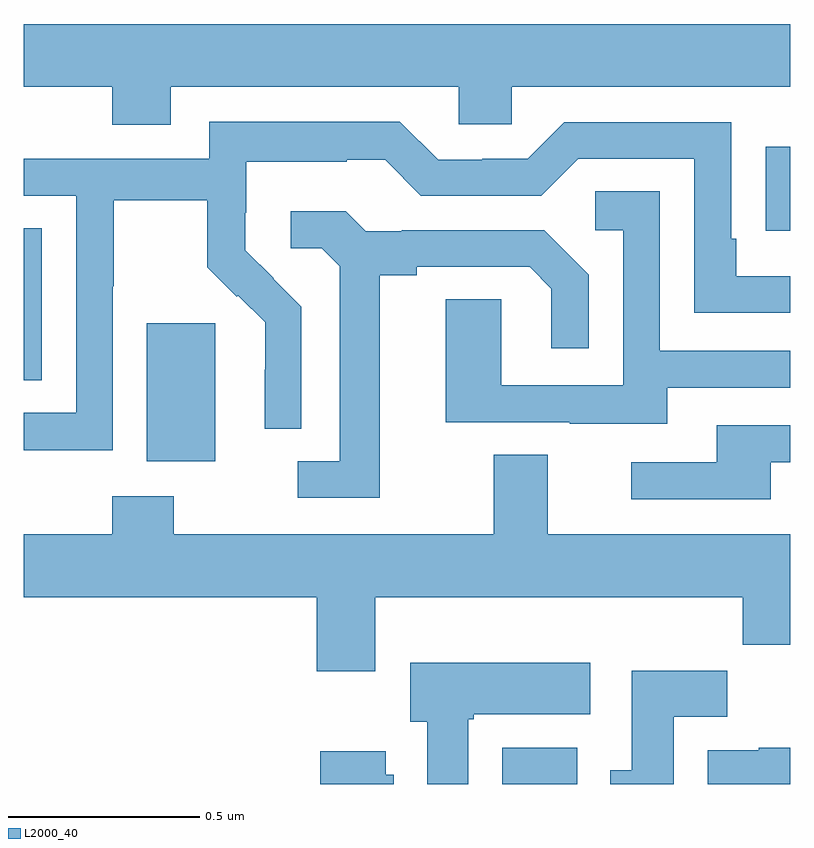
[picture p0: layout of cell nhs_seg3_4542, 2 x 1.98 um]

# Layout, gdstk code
import gdstk
lib = gdstk.Library(unit=1e-6, precision=1e-09)
def R(c, l, rs):  # rectangles x0, y0, x1, y1
    for r in rs: c.add(gdstk.rectangle(r[:2], r[2:], *l))
def P(c, l, *ps):  # polygons
    for p in ps: c.add(gdstk.Polygon(p, *l))
L2000_40 = (2000, 40)

nhs_seg3_4542 = lib.new_cell('nhs_seg3_4542')
R(nhs_seg3_4542, L2000_40, [(168.248,728.4,168.445,728.494), (167.321,729.242,167.5,729.603), (167,729.454,167.047,729.851), (168.937,729.844,169,730.063)])
P(nhs_seg3_4542, L2000_40, [(167.383,730.22),(168.135,730.22),(168.135,730.122),(168.273,730.122),(168.273,730.22),(169,730.22),(169,730.384),(167,730.384),(167,730.22),(167.231,730.22),(167.231,730.121),(167.383,730.121)],
  [(167.232,729.7),(167.235,729.7),(167.235,729.924),(167.479,729.924),(167.479,729.749),(167.556,729.672),(167.559,729.675),(167.63,729.605),(167.63,729.482),(167.628,729.482),(167.628,729.328),(167.724,729.328),(167.724,729.646),(167.651,729.719),(167.652,729.72),(167.578,729.794),(167.578,729.891),(167.58,729.891),(167.58,730.025),(167.843,730.025),(167.843,730.029),(167.943,730.029),(168.036,729.936),(168.351,729.936),(168.447,730.032),(168.75,730.032),(168.75,729.63),(169,729.63),(169,729.726),(168.859,729.726),(168.859,729.823),(168.846,729.823),(168.846,730.128),(168.411,730.128),(168.315,730.032),(168.197,730.032),(168.197,730.029),(168.081,730.029),(167.981,730.129),(167.484,730.129),(167.484,730.032),(167,730.032),(167,729.936),(167.136,729.936),(167.136,729.369),(167,729.369),(167,729.271),(167.232,729.271)],
  [(168.679,729.435),(169,729.435),(169,729.531),(168.66,729.531),(168.66,729.947),(168.492,729.947),(168.492,729.846),(168.564,729.846),(168.564,729.441),(168.246,729.441),(168.246,729.665),(168.101,729.665),(168.101,729.345),(168.425,729.345),(168.425,729.341),(168.679,729.341)],
  [(167.929,729.728),(168.025,729.728),(168.025,729.75),(168.32,729.75),(168.377,729.693),(168.377,729.537),(168.474,729.537),(168.474,729.73),(168.358,729.846),(167.986,729.846),(167.986,729.843),(167.892,729.843),(167.84,729.895),(167.697,729.895),(167.697,729.798),(167.778,729.798),(167.825,729.751),(167.825,729.243),(167.715,729.243),(167.715,729.147),(167.929,729.147)],
  [(168.949,729.24),(169,729.24),(169,729.336),(168.809,729.336),(168.809,729.24),(168.585,729.24),(168.585,729.144),(168.949,729.144)],
  [(167.917,728.888),(168.877,728.888),(168.877,728.764),(169,728.764),(169,729.052),(168.367,729.052),(168.367,729.26),(168.227,729.26),(168.227,729.052),(167.391,729.052),(167.391,729.151),(167.231,729.151),(167.231,729.052),(167,729.052),(167,728.888),(167.765,728.888),(167.765,728.694),(167.917,728.694)],
  [(168.16,728.569),(168.174,728.569),(168.174,728.582),(168.478,728.582),(168.478,728.716),(168.008,728.716),(168.008,728.562),(168.053,728.562),(168.053,728.4),(168.16,728.4)],
  [(168.697,728.576),(168.836,728.576),(168.836,728.695),(168.587,728.695),(168.587,728.436),(168.53,728.436),(168.53,728.4),(168.697,728.4)],
  [(169,728.494),(168.918,728.494),(168.918,728.488),(168.785,728.488),(168.785,728.4),(169,728.4)],
  [(167.965,728.424),(167.944,728.424),(167.944,728.485),(167.774,728.485),(167.774,728.4),(167.965,728.4)])

lib.write_gds('nhs_seg3_4542.gds')
